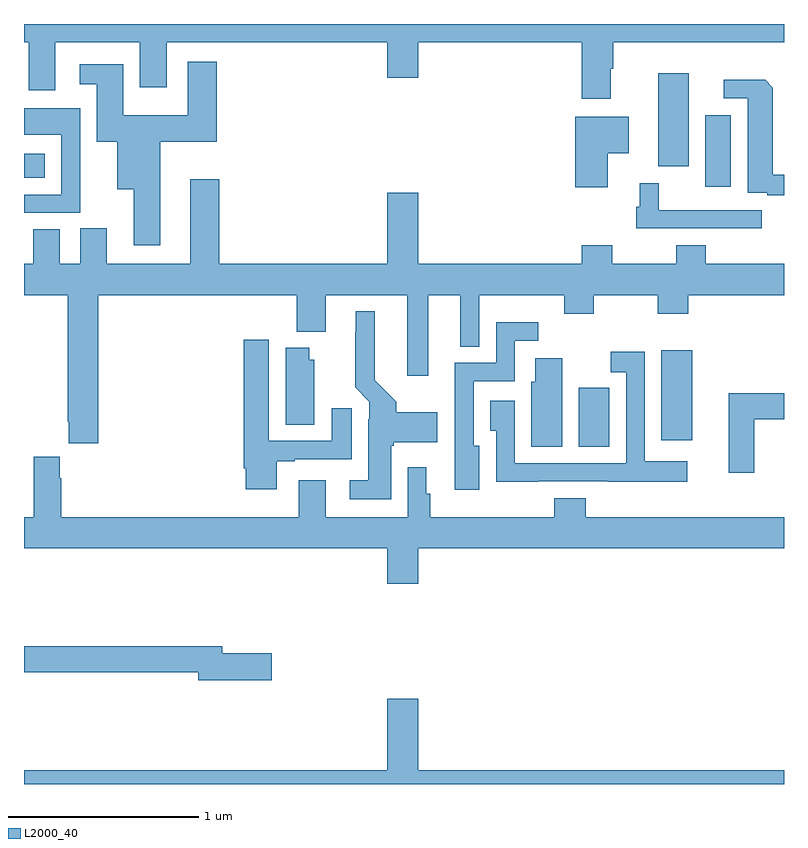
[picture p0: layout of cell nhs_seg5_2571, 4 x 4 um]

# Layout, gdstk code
import gdstk
lib = gdstk.Library(unit=1e-6, precision=1e-09)
def R(c, l, rs):  # rectangles x0, y0, x1, y1
    for r in rs: c.add(gdstk.rectangle(r[:2], r[2:], *l))
def P(c, l, *ps):  # polygons
    for p in ps: c.add(gdstk.Polygon(p, *l))
L2000_40 = (2000, 40)

nhs_seg5_2571 = lib.new_cell('nhs_seg5_2571')
R(nhs_seg5_2571, L2000_40, [(261.92,910.573,262.081,910.884), (262.355,910.608,262.516,911.083), (262.586,911.943,262.72,912.319), (259,911.99,259.108,912.117), (262.337,912.051,262.498,912.541)])
P(nhs_seg5_2571, L2000_40, [(262.087,912.563),(262.1,912.563),(262.1,912.704),(263,912.704),(263,912.799),(259,912.799),(259,912.704),(259.025,912.704),(259.025,912.45),(259.165,912.45),(259.165,912.704),(259.61,912.704),(259.61,912.465),(259.75,912.465),(259.75,912.704),(260.912,912.704),(260.912,912.516),(261.076,912.516),(261.076,912.704),(261.935,912.704),(261.935,912.405),(262.087,912.405)],
  [(259.717,912.179),(260.015,912.179),(260.015,912.601),(259.862,912.601),(259.862,912.319),(259.522,912.319),(259.522,912.586),(259.293,912.586),(259.293,912.482),(259.382,912.482),(259.382,912.179),(259.49,912.179),(259.49,911.93),(259.577,911.93),(259.577,911.634),(259.717,911.634)],
  [(263,912.006),(262.942,912.006),(262.942,912.464),(262.901,912.506),(262.683,912.506),(262.683,912.408),(262.808,912.408),(262.808,911.91),(262.913,911.91),(262.913,911.898),(263,911.898)],
  [(259.295,912.355),(259,912.355),(259,912.215),(259.197,912.215),(259.197,911.901),(259,911.901),(259,911.805),(259.295,911.805)],
  [(262.072,912.119),(262.183,912.119),(262.183,912.31),(261.902,912.31),(261.902,911.94),(262.072,911.94)],
  [(261.076,911.911),(260.912,911.911),(260.912,911.536),(260.027,911.536),(260.027,911.983),(259.874,911.983),(259.874,911.536),(259.435,911.536),(259.435,911.724),(259.296,911.724),(259.296,911.536),(259.189,911.536),(259.189,911.72),(259.049,911.72),(259.049,911.536),(259,911.536),(259,911.372),(259.231,911.372),(259.231,910.705),(259.235,910.705),(259.235,910.593),(259.391,910.593),(259.391,911.372),(260.435,911.372),(260.435,911.18),(260.587,911.18),(260.587,911.372),(261.017,911.372),(261.017,910.947),(261.127,910.947),(261.127,911.372),(261.296,911.372),(261.296,911.101),(261.397,911.101),(261.397,911.372),(261.844,911.372),(261.844,911.273),(261.999,911.273),(261.999,911.372),(262.336,911.372),(262.336,911.273),(262.496,911.273),(262.496,911.372),(263,911.372),(263,911.536),(262.587,911.536),(262.587,911.635),(262.432,911.635),(262.432,911.536),(262.095,911.536),(262.095,911.635),(261.935,911.635),(261.935,911.536),(261.076,911.536)],
  [(262.882,911.82),(262.341,911.82),(262.341,911.962),(262.241,911.962),(262.241,911.838),(262.222,911.838),(262.222,911.724),(262.882,911.724)],
  [(260.932,910.578),(260.946,910.578),(260.946,910.598),(261.175,910.598),(261.175,910.756),(260.958,910.756),(260.958,910.811),(260.845,910.924),(260.845,911.287),(260.747,911.287),(260.747,911.177),(260.743,911.177),(260.743,910.886),(260.817,910.812),(260.817,910.718),(260.813,910.718),(260.813,910.399),(260.715,910.399),(260.715,910.298),(260.932,910.298)],
  [(261.397,910.579),(261.367,910.579),(261.367,910.92),(261.582,910.92),(261.582,911.133),(261.706,911.133),(261.706,911.23),(261.486,911.23),(261.486,911.016),(261.266,911.016),(261.266,910.347),(261.397,910.347)],
  [(260.329,910.497),(260.425,910.497),(260.425,910.509),(260.725,910.509),(260.725,910.777),(260.621,910.777),(260.621,910.605),(260.287,910.605),(260.287,911.137),(260.156,911.137),(260.156,910.462),(260.168,910.462),(260.168,910.35),(260.329,910.35)],
  [(260.527,911.031),(260.5,911.031),(260.5,911.095),(260.378,911.095),(260.378,910.69),(260.527,910.69)],
  [(261.707,910.392),(262.073,910.392),(262.073,910.391),(262.492,910.391),(262.492,910.498),(262.266,910.498),(262.266,911.074),(262.089,911.074),(262.089,910.965),(262.17,910.965),(262.17,910.488),(261.582,910.488),(261.582,910.816),(261.455,910.816),(261.455,910.657),(261.486,910.657),(261.486,910.391),(261.707,910.391)],
  [(261.832,911.041),(261.692,911.041),(261.692,910.917),(261.671,910.917),(261.671,910.573),(261.832,910.573)],
  [(262.844,910.72),(263,910.72),(263,910.856),(262.709,910.856),(262.709,910.437),(262.844,910.437)],
  [(263,910.204),(261.956,910.204),(261.956,910.303),(261.791,910.303),(261.791,910.204),(261.137,910.204),(261.137,910.326),(261.118,910.326),(261.118,910.465),(261.021,910.465),(261.021,910.204),(260.587,910.204),(260.587,910.399),(260.447,910.399),(260.447,910.204),(259.196,910.204),(259.196,910.409),(259.189,910.409),(259.189,910.522),(259.052,910.522),(259.052,910.204),(259,910.204),(259,910.04),(260.912,910.04),(260.912,909.852),(261.076,909.852),(261.076,910.04),(263,910.04)],
  [(260.305,909.488),(260.044,909.488),(260.044,909.524),(259,909.524),(259,909.388),(259.916,909.388),(259.916,909.346),(260.305,909.346)],
  [(263,908.872),(261.076,908.872),(261.076,909.247),(260.912,909.247),(260.912,908.872),(259,908.872),(259,908.799),(263,908.799)])

lib.write_gds('nhs_seg5_2571.gds')
